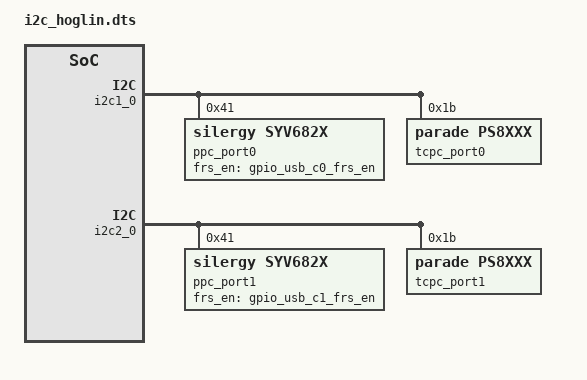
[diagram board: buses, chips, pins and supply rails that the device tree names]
/* Copyright 2022 The ChromiumOS Authors. All rights reserved.
 * Use of this source code is governed by a BSD-style license that can be
 * found in the LICENSE file.
 */

#include "i2c_common.dtsi"

&i2c1_0 {
	ppc_port0: syv682x@41 {
		compatible = "silergy,syv682x";
		status = "okay";
		reg = <0x41>;
		frs_en_gpio = <&gpio_usb_c0_frs_en>;
	};

	tcpc_port0: ps8xxx@1b {
		compatible = "parade,ps8xxx";
		reg = <0x1b>;
	};
};

&i2c2_0 {
	ppc_port1: syv682x@41 {
		compatible = "silergy,syv682x";
		status = "okay";
		reg = <0x41>;
		frs_en_gpio = <&gpio_usb_c1_frs_en>;
	};

	tcpc_port1: ps8xxx@1b {
		compatible = "parade,ps8xxx";
		reg = <0x1b>;
	};
};
